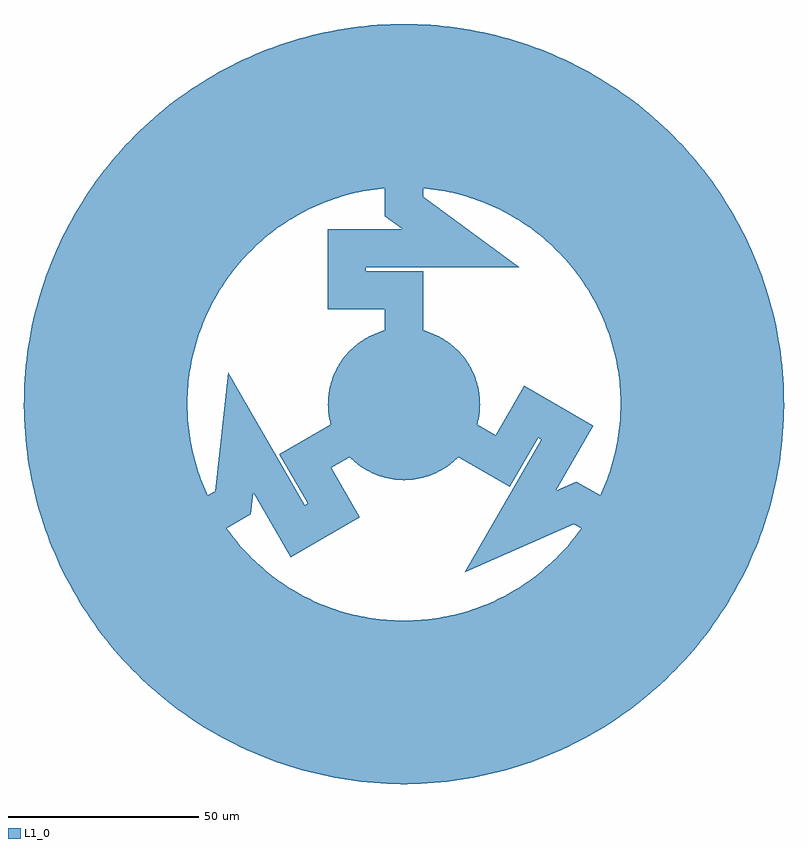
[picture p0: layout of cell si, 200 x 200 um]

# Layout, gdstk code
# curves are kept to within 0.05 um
import gdstk
lib = gdstk.Library(unit=1e-6, precision=1e-09)
def P(c, l, *ps):  # polygons
    for p in ps: c.add(gdstk.Polygon(p, *l))
L1_0 = (1, 0)

c_si = lib.new_cell('si')
P(c_si, L1_0, [(-0.175,-19.999),(-2.27,-19.871),(-4.341,-19.523),(-6.363,-18.961),(-7.996,-18.332),(-9.568,-17.563),(-11.356,-16.464),(-13.019,-15.183),(-14.296,-13.987),(-15.464,-12.684),(-16.708,-10.993),(-17.605,-9.491),(-18.503,-7.593),(-19.197,-5.612),(-19.614,-3.913),(-19.916,-1.835),(-19.998,0.263),(-19.861,2.357),(-19.579,4.084),(-19.043,6.114),(-18.297,8.076),(-17.35,9.949),(-16.414,11.428),(-15.352,12.818),(-13.924,14.357),(-12.616,15.519),(-10.92,16.756),(-9.103,17.808),(-7.512,18.536),(-5.528,19.221),(-3.827,19.631),(-1.748,19.923),(0.35,19.997),(2.096,19.89),(4.17,19.561),(6.197,19.016),(8.156,18.261),(9.721,17.479),(11.499,16.363),(12.886,15.296),(14.418,13.861),(15.574,12.548),(16.804,10.846),(17.848,9.025),(18.568,7.431),(19.147,5.78),(19.647,3.741),(19.899,2.009),(20,-0.088),(19.916,-1.835),(19.614,-3.913),(19.197,-5.612),(18.503,-7.593),(17.605,-9.491),(16.513,-11.284),(15.464,-12.684),(14.049,-14.235),(12.48,-15.629),(10.773,-16.851),(9.259,-17.728),(7.349,-18.601),(5.359,-19.269),(3.655,-19.663),(1.574,-19.938)],
  [(-0.875,-99.996),(-6.122,-99.812),(-11.352,-99.354),(-16.55,-98.621),(-19.992,-97.981),(-25.106,-96.797),(-30.152,-95.346),(-35.114,-93.632),(-38.369,-92.346),(-43.163,-90.205),(-47.838,-87.816),(-52.38,-85.184),(-56.779,-82.318),(-61.021,-79.224),(-65.094,-75.913),(-68.989,-72.392),(-71.48,-69.933),(-73.884,-67.389),(-77.318,-63.418),(-80.54,-59.273),(-83.54,-54.964),(-85.412,-52.007),(-88.024,-47.453),(-90.393,-42.768),(-92.513,-37.965),(-94.378,-33.057),(-95.983,-28.059),(-97.323,-22.983),(-98.068,-19.563),(-98.959,-14.389),(-99.578,-9.176),(-99.922,-3.937),(-99.991,1.313),(-99.884,4.811),(-99.655,8.304),(-99.082,13.522),(-98.548,16.982),(-97.893,20.42),(-97.118,23.834),(-96.225,27.218),(-95.213,30.569),(-94.085,33.882),(-92.842,37.154),(-91.485,40.38),(-90.015,43.557),(-88.436,46.681),(-86.748,49.747),(-84.954,52.753),(-82.162,57),(0,57),(-3.987,56.86),(-6.966,56.573),(-10.906,55.947),(-13.827,55.297),(-16.71,54.496),(-20.481,53.193),(-23.245,52.045),(-26.828,50.292),(-30.281,48.292),(-32.773,46.636),(-35.176,44.852),(-38.227,42.281),(-41.091,39.504),(-43.107,37.293),(-45.005,34.979),(-47.342,31.745),(-48.943,29.217),(-50.866,25.722),(-52.541,22.101),(-53.629,19.313),(-54.568,16.472),(-55.587,12.614),(-56.333,8.695),(-56.712,5.727),(-56.934,2.742),(-56.986,-1.247),(-56.76,-5.23),(-56.407,-8.202),(-55.899,-11.151),(-54.982,-15.034),(-54.117,-17.898),(-52.732,-21.64),(-51.09,-25.276),(-49.693,-27.922),(-48.159,-30.492),(-45.908,-33.786),(-43.432,-36.914),(-41.435,-39.143),(-39.324,-41.263),(-36.341,-43.913),(-33.986,-45.76),(-30.702,-48.025),(-27.267,-50.055),(-24.603,-51.417),(-20.946,-53.012),(-18.135,-54.038),(-14.311,-55.174),(-11.395,-55.849),(-7.461,-56.51),(-4.485,-56.823),(-0.499,-56.998),(2.493,-56.945),(6.47,-56.632),(9.434,-56.214),(13.343,-55.416),(16.233,-54.64),(19.078,-53.713),(22.788,-52.246),(25.499,-50.978),(29.002,-49.07),(32.364,-46.921),(34.782,-45.158),(37.104,-43.27),(40.04,-40.569),(42.114,-38.411),(44.071,-36.148),(45.908,-33.786),(47.618,-31.33),(49.196,-28.787),(50.639,-26.166),(51.943,-23.472),(53.103,-20.714),(54.117,-17.898),(54.982,-15.034),(55.695,-12.127),(56.255,-9.188),(56.659,-6.223),(56.908,-3.24),(56.999,-0.249),(56.934,2.742),(56.712,5.727),(56.333,8.695),(55.799,11.639),(55.111,14.552),(54.272,17.424),(53.282,20.248),(52.146,23.017),(50.866,25.722),(48.943,29.217),(47.342,31.745),(45.61,34.186),(43.753,36.533),(41.776,38.779),(39.683,40.918),(37.481,42.944),(35.176,44.852),(31.952,47.202),(28.572,49.322),(25.052,51.2),(21.409,52.827),(17.661,54.195),(13.827,55.297),(9.925,56.129),(5.975,56.686),(2.991,56.921),(0,57),(-82.162,57),(-78.956,61.367),(-76.76,64.092),(-74.47,66.739),(-72.089,69.305),(-69.62,71.785),(-65.756,75.34),(-61.712,78.687),(-58.92,80.799),(-56.056,82.811),(-53.124,84.722),(-50.126,86.53),(-45.516,89.041),(-42.372,90.579),(-39.176,92.007),(-34.293,93.936),(-30.985,95.079),(-27.639,96.105),(-22.557,97.423),(-19.133,98.153),(-15.687,98.762),(-10.482,99.449),(-6.995,99.755),(-3.5,99.939),(1.75,99.985),(6.995,99.755),(10.482,99.449),(15.687,98.762),(20.848,97.803),(25.952,96.574),(30.985,95.079),(34.293,93.936),(39.176,92.007),(43.951,89.824),(48.604,87.394),(51.633,85.639),(56.056,82.811),(60.325,79.755),(64.428,76.479),(68.353,72.993),(72.089,69.305),(75.627,65.426),(78.956,61.367),(81.056,58.566),(84.018,54.231),(85.864,51.258),(88.436,46.681),(90.764,41.975),(92.842,37.154),(94.664,32.23),(95.734,28.898),(97.118,23.834),(98.235,18.704),(99.082,13.522),(99.655,8.304),(99.953,3.062),(99.999,-0.438),(99.838,-5.685),(99.578,-9.176),(98.959,-14.389),(98.068,-19.563),(97.323,-22.983),(95.983,-28.059),(94.378,-33.057),(92.513,-37.965),(90.393,-42.768),(88.024,-47.453),(85.412,-52.007),(83.54,-54.964),(80.54,-59.273),(77.318,-63.418),(73.884,-67.389),(70.245,-71.173),(66.413,-74.762),(62.398,-78.144),(59.625,-80.28),(55.329,-83.299),(50.882,-86.088),(47.838,-87.816),(43.163,-90.205),(38.369,-92.346),(33.47,-94.232),(28.478,-95.859),(23.408,-97.222),(18.274,-98.316),(13.089,-99.14),(7.868,-99.69),(2.625,-99.966)])
c_si.add(gdstk.FlexPath([(0,0),(0,30),(-15,30),(-15,41),(15,41),(15,41),(0,52),(0,57)], 10, ends="flush", simple_path=True, layer=1, datatype=0))  # L1_0
c_si.add(gdstk.FlexPath([(0,0),(-25.981,-15),(-18.481,-27.99),(-28.007,-33.49),(-43.007,-7.51),(-43.007,-7.51),(-45.033,-26),(-49.363,-28.5)], 10, ends="flush", simple_path=True, layer=1, datatype=0))  # L1_0
c_si.add(gdstk.FlexPath([(0,0),(25.981,-15),(33.481,-2.01),(43.007,-7.51),(28.007,-33.49),(28.007,-33.49),(45.033,-26),(49.363,-28.5)], 10, ends="flush", simple_path=True, layer=1, datatype=0))  # L1_0

lib.write_gds('si.gds')
